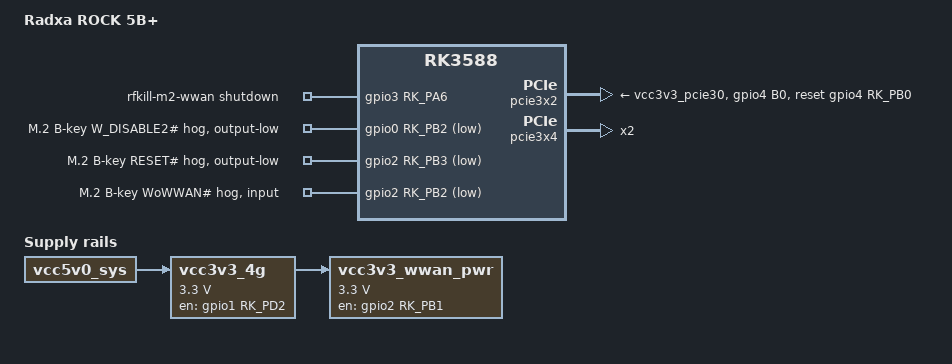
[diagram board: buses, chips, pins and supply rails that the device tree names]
// SPDX-License-Identifier: (GPL-2.0+ OR MIT)

/dts-v1/;

#include "rk3588-rock-5b.dtsi"

/ {
	model = "Radxa ROCK 5B+";
	compatible = "radxa,rock-5b-plus", "rockchip,rk3588";

	rfkill-wwan {
		compatible = "rfkill-gpio";
		label = "rfkill-m2-wwan";
		radio-type = "wwan";
		shutdown-gpios = <&gpio3 RK_PA6 GPIO_ACTIVE_HIGH>;
	};

	vcc3v3_4g: regulator-vcc3v3-4g {
		compatible = "regulator-fixed";
		enable-active-high;
		gpios = <&gpio1 RK_PD2 GPIO_ACTIVE_HIGH>;
		/* pinctrl for the GPIO is requested by vcc3v3_pcie2x1l0 */
		regulator-name = "vcc3v3_4g";
		regulator-always-on;
		regulator-boot-on;
		regulator-min-microvolt = <3300000>;
		regulator-max-microvolt = <3300000>;
		startup-delay-us = <50000>;
		vin-supply = <&vcc5v0_sys>;
	};

	vcc3v3_wwan_pwr: regulator-vcc3v3-wwan {
		compatible = "regulator-fixed";
		enable-active-high;
		gpios = <&gpio2 RK_PB1 GPIO_ACTIVE_HIGH>;
		pinctrl-names = "default";
		pinctrl-0 = <&wwan_power_en>;
		regulator-name = "vcc3v3_wwan_pwr";
		regulator-always-on;
		regulator-boot-on;
		regulator-min-microvolt = <3300000>;
		regulator-max-microvolt = <3300000>;
		vin-supply = <&vcc3v3_4g>;
	};
};

&gpio0 {
	wwan-disable2-n-hog {
		gpios = <RK_PB2 GPIO_ACTIVE_LOW>;
		output-low;
		line-name = "M.2 B-key W_DISABLE2#";
		gpio-hog;
	};
};

&gpio2 {
	wwan-reset-n-hog {
		gpios = <RK_PB3 GPIO_ACTIVE_LOW>;
		output-low;
		line-name = "M.2 B-key RESET#";
		gpio-hog;
	};

	wwan-wake-n-hog {
		gpios = <RK_PB2 GPIO_ACTIVE_LOW>;
		input;
		line-name = "M.2 B-key WoWWAN#";
		gpio-hog;
	};
};

&pcie30phy {
	data-lanes = <1 1 2 2>;
};

&pcie3x2 {
	pinctrl-names = "default";
	pinctrl-0 = <&pcie3x2_rst>;
	reset-gpios = <&gpio4 RK_PB0 GPIO_ACTIVE_HIGH>;
	vpcie3v3-supply = <&vcc3v3_pcie30>;
	status = "okay";
};

&pcie3x4 {
	num-lanes = <2>;
};

&pinctrl {
	wwan {
		wwan_power_en: wwan-pwr-en {
			rockchip,pins = <2 RK_PB1 RK_FUNC_GPIO &pcfg_pull_none>;
		};
	};

	pcie3 {
		pcie3x2_rst: pcie3x2-rst {
			rockchip,pins = <4 RK_PB0 RK_FUNC_GPIO &pcfg_pull_none>;
		};
	};

	usb {
		usbc_sbu_dc: usbc-sbu-dc {
			rockchip,pins = <0 RK_PC4 RK_FUNC_GPIO &pcfg_pull_none>,
					<0 RK_PC5 RK_FUNC_GPIO &pcfg_pull_none>;
		};

		vcc5v0_host_en: vcc5v0-host-en {
			rockchip,pins = <1 RK_PA1 RK_FUNC_GPIO &pcfg_pull_none>;
		};
	};
};

&usbdp_phy0 {
	pinctrl-names = "default";
	pinctrl-0 = <&usbc_sbu_dc>;
	sbu1-dc-gpios = <&gpio0 RK_PC4 GPIO_ACTIVE_HIGH>;
	sbu2-dc-gpios = <&gpio0 RK_PC5 GPIO_ACTIVE_HIGH>;
};

&vcc5v0_host {
	enable-active-high;
	gpio = <&gpio1 RK_PA1 GPIO_ACTIVE_HIGH>;
	pinctrl-names = "default";
	pinctrl-0 = <&vcc5v0_host_en>;
};
